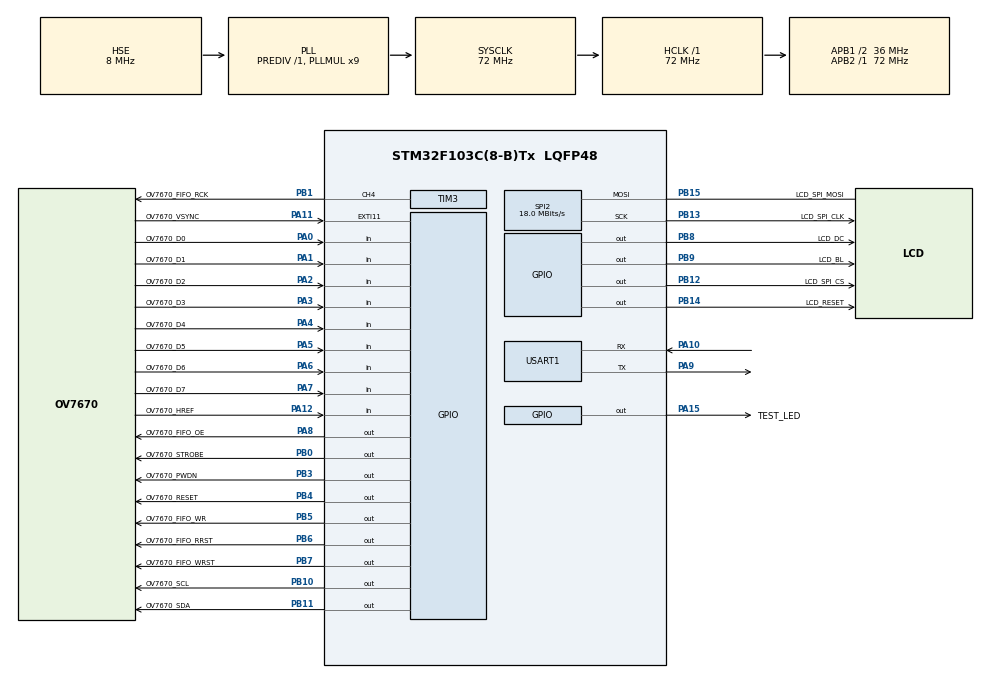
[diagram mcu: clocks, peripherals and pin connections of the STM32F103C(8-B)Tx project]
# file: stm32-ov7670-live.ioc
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Dma.Request0=TIM3_CH4/UP
Dma.Request1=SPI2_TX
Dma.SPI2_TX.1.Direction=DMA_MEMORY_TO_PERIPH
Dma.SPI2_TX.1.Instance=DMA1_Channel5
Dma.SPI2_TX.1.MemDataAlignment=DMA_MDATAALIGN_BYTE
Dma.SPI2_TX.1.MemInc=DMA_MINC_ENABLE
Dma.SPI2_TX.1.Mode=DMA_NORMAL
Dma.SPI2_TX.1.PeriphDataAlignment=DMA_PDATAALIGN_BYTE
Dma.SPI2_TX.1.PeriphInc=DMA_PINC_DISABLE
Dma.SPI2_TX.1.Priority=DMA_PRIORITY_LOW
Dma.TIM3_CH4/UP.0.Direction=DMA_PERIPH_TO_MEMORY
Dma.TIM3_CH4/UP.0.Instance=DMA1_Channel3
Dma.TIM3_CH4/UP.0.MemDataAlignment=DMA_MDATAALIGN_BYTE
Dma.TIM3_CH4/UP.0.MemInc=DMA_MINC_ENABLE
Dma.TIM3_CH4/UP.0.Mode=DMA_CIRCULAR
Dma.TIM3_CH4/UP.0.PeriphDataAlignment=DMA_PDATAALIGN_BYTE
Dma.TIM3_CH4/UP.0.PeriphInc=DMA_PINC_DISABLE
Dma.TIM3_CH4/UP.0.Priority=DMA_PRIORITY_VERY_HIGH
Mcu.Family=STM32F1
Mcu.Name=STM32F103C(8-B)Tx
Mcu.Package=LQFP48
NVIC.DMA1_Channel3_IRQn=true\:0\:0\:false\:false\:true\:false\:true\:true
NVIC.DMA1_Channel5_IRQn=true\:0\:0\:false\:false\:true\:false\:true\:true
NVIC.EXTI15_10_IRQn=true\:1\:0\:true\:false\:true\:true\:true\:true
NVIC.PriorityGroup=NVIC_PRIORITYGROUP_4
PA0-WKUP.GPIO_Label=OV7670_D0
PA0-WKUP.Signal=GPIO_Input
PA1.GPIO_Label=OV7670_D1
PA1.Signal=GPIO_Input
PA10.Mode=Asynchronous
PA10.Signal=USART1_RX
PA11.GPIO_Label=OV7670_VSYNC
PA11.GPIO_ModeDefaultEXTI=GPIO_MODE_IT_FALLING
PA11.Signal=GPXTI11
PA12.GPIO_Label=OV7670_HREF
PA12.Signal=GPIO_Input
PA13.Mode=Serial_Wire
PA13.Signal=SYS_JTMS-SWDIO
PA14.Mode=Serial_Wire
PA14.Signal=SYS_JTCK-SWCLK
PA15.GPIO_Label=TEST_LED
PA15.Signal=GPIO_Output
PA2.GPIO_Label=OV7670_D2
PA2.Signal=GPIO_Input
PA3.GPIO_Label=OV7670_D3
PA3.Signal=GPIO_Input
PA4.GPIO_Label=OV7670_D4
PA4.Signal=GPIO_Input
PA5.GPIO_Label=OV7670_D5
PA5.Signal=GPIO_Input
PA6.GPIO_Label=OV7670_D6
PA6.Signal=GPIO_Input
PA7.GPIO_Label=OV7670_D7
PA7.Signal=GPIO_Input
PA8.GPIO_Label=OV7670_FIFO_OE
PA8.GPIO_Speed=GPIO_SPEED_FREQ_HIGH
PA8.PinState=GPIO_PIN_SET
PA8.Signal=GPIO_Output
PA9.Mode=Asynchronous
PA9.Signal=USART1_TX
PB0.GPIO_Label=OV7670_STROBE
PB0.GPIO_Speed=GPIO_SPEED_FREQ_HIGH
PB0.Signal=GPIO_Output
PB1.GPIO_Label=OV7670_FIFO_RCK
PB1.GPIO_Speed=GPIO_SPEED_FREQ_HIGH
PB1.Signal=S_TIM3_CH4
PB10.GPIO_Label=OV7670_SCL
PB10.GPIO_ModeDefaultOutputPP=GPIO_MODE_OUTPUT_OD
PB10.GPIO_PuPd=GPIO_NOPULL
PB10.GPIO_Speed=GPIO_SPEED_FREQ_LOW
PB10.PinState=GPIO_PIN_SET
PB10.Signal=GPIO_Output
PB11.GPIO_Label=OV7670_SDA
PB11.GPIO_ModeDefaultOutputPP=GPIO_MODE_OUTPUT_OD
PB11.GPIO_PuPd=GPIO_NOPULL
PB11.GPIO_Speed=GPIO_SPEED_FREQ_LOW
PB11.PinState=GPIO_PIN_SET
PB11.Signal=GPIO_Output
PB12.GPIO_Label=LCD_SPI_CS
PB12.GPIO_Speed=GPIO_SPEED_FREQ_HIGH
PB12.PinState=GPIO_PIN_SET
PB12.Signal=GPIO_Output
PB13.GPIO_Label=LCD_SPI_CLK
PB13.Mode=Simplex_Bidirectional_Master
PB13.Signal=SPI2_SCK
PB14.GPIO_Label=LCD_RESET
PB14.GPIO_Speed=GPIO_SPEED_FREQ_HIGH
PB14.PinState=GPIO_PIN_SET
PB14.Signal=GPIO_Output
PB15.GPIO_Label=LCD_SPI_MOSI
PB15.Mode=Simplex_Bidirectional_Master
PB15.Signal=SPI2_MOSI
PB3.GPIO_Label=OV7670_PWDN
PB3.GPIO_Speed=GPIO_SPEED_FREQ_HIGH
PB3.Signal=GPIO_Output
PB4.GPIO_Label=OV7670_RESET
PB4.GPIO_Speed=GPIO_SPEED_FREQ_HIGH
PB4.PinState=GPIO_PIN_SET
PB4.Signal=GPIO_Output
PB5.GPIO_Label=OV7670_FIFO_WR
PB5.GPIO_Speed=GPIO_SPEED_FREQ_HIGH
PB5.Signal=GPIO_Output
PB6.GPIO_Label=OV7670_FIFO_RRST
PB6.GPIO_Speed=GPIO_SPEED_FREQ_HIGH
PB6.PinState=GPIO_PIN_SET
PB6.Signal=GPIO_Output
PB7.GPIO_Label=OV7670_FIFO_WRST
PB7.GPIO_Speed=GPIO_SPEED_FREQ_HIGH
PB7.PinState=GPIO_PIN_SET
PB7.Signal=GPIO_Output
PB8.GPIO_Label=LCD_DC
PB8.GPIO_Speed=GPIO_SPEED_FREQ_HIGH
PB8.Signal=GPIO_Output
PB9.GPIO_Label=LCD_BL
PB9.GPIO_Speed=GPIO_SPEED_FREQ_HIGH
PB9.Signal=GPIO_Output
PD0-OSC_IN.Mode=HSE-External-Oscillator
PD0-OSC_IN.Signal=RCC_OSC_IN
PD1-OSC_OUT.Mode=HSE-External-Oscillator
PD1-OSC_OUT.Signal=RCC_OSC_OUT
ProjectManager.HeapSize=0x200
ProjectManager.StackSize=0x400
ProjectManager.TargetToolchain=CMake
RCC.AHBFreq_Value=72000000
RCC.APB1CLKDivider=RCC_HCLK_DIV2
RCC.APB1Freq_Value=36000000
RCC.APB1TimFreq_Value=72000000
RCC.APB2Freq_Value=72000000
RCC.APB2TimFreq_Value=72000000
RCC.HCLKFreq_Value=72000000
RCC.PLLMUL=RCC_PLL_MUL9
RCC.PLLSourceVirtual=RCC_PLLSOURCE_HSE
RCC.SYSCLKFreq_VALUE=72000000
RCC.SYSCLKSource=RCC_SYSCLKSOURCE_PLLCLK
RCC.USBFreq_Value=72000000
SH.S_TIM3_CH4.0=TIM3_CH4,PWM Generation4 CH4
SPI2.CalculateBaudRate=18.0 MBits/s
SPI2.Direction=SPI_DIRECTION_1LINE
SPI2.Mode=SPI_MODE_MASTER
SPI2.VirtualType=VM_MASTER
TIM3.AutoReloadPreload=TIM_AUTORELOAD_PRELOAD_ENABLE
TIM3.Channel-PWM\ Generation4\ CH4=TIM_CHANNEL_4
TIM3.OCFastMode_PWM-PWM\ Generation4\ CH4=TIM_OCFAST_ENABLE
TIM3.OCMode_PWM-PWM\ Generation4\ CH4=TIM_OCMODE_PWM2
TIM3.Period=49
TIM3.Pulse-PWM\ Generation4\ CH4=24
USART1.VirtualMode=VM_ASYNC
VP_TIM3_VS_ClockSourceINT.Mode=Internal
board=custom

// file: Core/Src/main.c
/* USER CODE BEGIN Header */
/**
  ******************************************************************************
  * @file           : main.c
  * @brief          : Main program body
  ******************************************************************************
  * @attention
  *
  * Copyright (c) 2026 STMicroelectronics.
  * All rights reserved.
  *
  * This software is licensed under terms that can be found in the LICENSE file
  * in the root directory of this software component.
  * If no LICENSE file comes with this software, it is provided AS-IS.
  *
  ******************************************************************************
  */
/* USER CODE END Header */
#include "main.h"

/* USER CODE BEGIN Includes */
#include "dwt_delay.h"
#include "ov7670.h"
#include "st7735.h"
#include "pipeline.h"
#include "debug.h"
#ifdef UNIT_TESTS_ENABLED
#include "test_runner.h"
#endif
/* USER CODE END Includes */

SPI_HandleTypeDef hspi2;
DMA_HandleTypeDef hdma_spi2_tx;

TIM_HandleTypeDef htim3;
DMA_HandleTypeDef hdma_tim3_ch4_up;

UART_HandleTypeDef huart1;

void SystemClock_Config(void);
static void MX_GPIO_Init(void);
static void MX_DMA_Init(void);
static void MX_TIM3_Init(void);
static void MX_SPI2_Init(void);
static void MX_USART1_UART_Init(void);

int main(void)
{

  /* MCU Configuration--------------------------------------------------------*/

  /* Reset of all peripherals, Initializes the Flash interface and the Systick. */
  HAL_Init();

  /* Configure the system clock */
  SystemClock_Config();

  /* Initialize all configured peripherals */
  MX_GPIO_Init();
  MX_DMA_Init();
  MX_TIM3_Init();
  MX_SPI2_Init();
  MX_USART1_UART_Init();
  /* USER CODE BEGIN 2 */
#ifdef UNIT_TESTS_ENABLED
  TestRunner_Run();   /* runs selected test groups, LED feedback, never returns */
#else
  debug_printf("\n\n=== STM32 OV7670 Live ===\n");

  /* BSP initialization (order matters: DWT -> OV7670 -> LCD -> Pipeline) */
  DWT_Init();
  debug_printf("DWT init OK\n");

  if (!OV7670_Init())
  {
    debug_printf("OV7670 init FAILED (SCCB NACK)\n");
    Error_Handler();
  }
  debug_printf("OV7670 init OK\n");

  LCD_Init();
  debug_printf("LCD init OK\n");

  Pipeline_Init();

  /* Enable TIM3 CC4 DMA request (triggers Camera DMA per RCK cycle) */
  Pipeline_EnableTimDma();

  debug_printf("Pipeline init OK, enabling VSYNC...\n");

  /* Enable VSYNC interrupt (PA11 -> EXTI11, last step before main loop) */
  Pipeline_ClearVsyncPending();
  Pipeline_EnableVsyncIrq();
#endif
  /* USER CODE END 2 */

  /* Infinite loop */
  while (1)
  {

    /* USER CODE BEGIN 3 */
    Pipeline_Poll();
  }
  /* USER CODE END 3 */
}

void SystemClock_Config(void)
{
  RCC_OscInitTypeDef RCC_OscInitStruct = {0};
  RCC_ClkInitTypeDef RCC_ClkInitStruct = {0};

  /** Initializes the RCC Oscillators according to the specified parameters
  * in the RCC_OscInitTypeDef structure.
  */
  RCC_OscInitStruct.OscillatorType = RCC_OSCILLATORTYPE_HSE;
  RCC_OscInitStruct.HSEState = RCC_HSE_ON;
  RCC_OscInitStruct.HSEPredivValue = RCC_HSE_PREDIV_DIV1;
  RCC_OscInitStruct.HSIState = RCC_HSI_ON;
  RCC_OscInitStruct.PLL.PLLState = RCC_PLL_ON;
  RCC_OscInitStruct.PLL.PLLSource = RCC_PLLSOURCE_HSE;
  RCC_OscInitStruct.PLL.PLLMUL = RCC_PLL_MUL9;
  if (HAL_RCC_OscConfig(&RCC_OscInitStruct) != HAL_OK)
  {
    Error_Handler();
  }

  /** Initializes the CPU, AHB and APB buses clocks
  */
  RCC_ClkInitStruct.ClockType = RCC_CLOCKTYPE_HCLK|RCC_CLOCKTYPE_SYSCLK
                              |RCC_CLOCKTYPE_PCLK1|RCC_CLOCKTYPE_PCLK2;
  RCC_ClkInitStruct.SYSCLKSource = RCC_SYSCLKSOURCE_PLLCLK;
  RCC_ClkInitStruct.AHBCLKDivider = RCC_SYSCLK_DIV1;
  RCC_ClkInitStruct.APB1CLKDivider = RCC_HCLK_DIV2;
  RCC_ClkInitStruct.APB2CLKDivider = RCC_HCLK_DIV1;

  if (HAL_RCC_ClockConfig(&RCC_ClkInitStruct, FLASH_LATENCY_2) != HAL_OK)
  {
    Error_Handler();
  }
}

static void MX_SPI2_Init(void)
{

  /* SPI2 parameter configuration*/
  hspi2.Instance = SPI2;
  hspi2.Init.Mode = SPI_MODE_MASTER;
  hspi2.Init.Direction = SPI_DIRECTION_1LINE;
  hspi2.Init.DataSize = SPI_DATASIZE_8BIT;
  hspi2.Init.CLKPolarity = SPI_POLARITY_LOW;
  hspi2.Init.CLKPhase = SPI_PHASE_1EDGE;
  hspi2.Init.NSS = SPI_NSS_SOFT;
  hspi2.Init.BaudRatePrescaler = SPI_BAUDRATEPRESCALER_2;
  hspi2.Init.FirstBit = SPI_FIRSTBIT_MSB;
  hspi2.Init.TIMode = SPI_TIMODE_DISABLE;
  hspi2.Init.CRCCalculation = SPI_CRCCALCULATION_DISABLE;
  hspi2.Init.CRCPolynomial = 10;
  if (HAL_SPI_Init(&hspi2) != HAL_OK)
  {
    Error_Handler();
  }

}

static void MX_TIM3_Init(void)
{

  TIM_ClockConfigTypeDef sClockSourceConfig = {0};
  TIM_MasterConfigTypeDef sMasterConfig = {0};
  TIM_OC_InitTypeDef sConfigOC = {0};

  htim3.Instance = TIM3;
  htim3.Init.Prescaler = 0;
  htim3.Init.CounterMode = TIM_COUNTERMODE_UP;
  htim3.Init.Period = 49;
  htim3.Init.ClockDivision = TIM_CLOCKDIVISION_DIV1;
  htim3.Init.AutoReloadPreload = TIM_AUTORELOAD_PRELOAD_ENABLE;
  if (HAL_TIM_Base_Init(&htim3) != HAL_OK)
  {
    Error_Handler();
  }
  sClockSourceConfig.ClockSource = TIM_CLOCKSOURCE_INTERNAL;
  if (HAL_TIM_ConfigClockSource(&htim3, &sClockSourceConfig) != HAL_OK)
  {
    Error_Handler();
  }
  if (HAL_TIM_PWM_Init(&htim3) != HAL_OK)
  {
    Error_Handler();
  }
  sMasterConfig.MasterOutputTrigger = TIM_TRGO_RESET;
  sMasterConfig.MasterSlaveMode = TIM_MASTERSLAVEMODE_DISABLE;
  if (HAL_TIMEx_MasterConfigSynchronization(&htim3, &sMasterConfig) != HAL_OK)
  {
    Error_Handler();
  }
  sConfigOC.OCMode = TIM_OCMODE_PWM2;
  sConfigOC.Pulse = 24;
  sConfigOC.OCPolarity = TIM_OCPOLARITY_HIGH;
  sConfigOC.OCFastMode = TIM_OCFAST_ENABLE;
  if (HAL_TIM_PWM_ConfigChannel(&htim3, &sConfigOC, TIM_CHANNEL_4) != HAL_OK)
  {
    Error_Handler();
  }
  HAL_TIM_MspPostInit(&htim3);

}

static void MX_USART1_UART_Init(void)
{

  huart1.Instance = USART1;
  huart1.Init.BaudRate = 115200;
  huart1.Init.WordLength = UART_WORDLENGTH_8B;
  huart1.Init.StopBits = UART_STOPBITS_1;
  huart1.Init.Parity = UART_PARITY_NONE;
  huart1.Init.Mode = UART_MODE_TX_RX;
  huart1.Init.HwFlowCtl = UART_HWCONTROL_NONE;
  huart1.Init.OverSampling = UART_OVERSAMPLING_16;
  if (HAL_UART_Init(&huart1) != HAL_OK)
  {
    Error_Handler();
  }

}

static void MX_DMA_Init(void)
{

  /* DMA controller clock enable */
  __HAL_RCC_DMA1_CLK_ENABLE();

  /* DMA interrupt init */
  /* DMA1_Channel3_IRQn interrupt configuration */
  HAL_NVIC_SetPriority(DMA1_Channel3_IRQn, 0, 0);
  HAL_NVIC_EnableIRQ(DMA1_Channel3_IRQn);
  /* DMA1_Channel5_IRQn interrupt configuration */
  HAL_NVIC_SetPriority(DMA1_Channel5_IRQn, 0, 0);
  HAL_NVIC_EnableIRQ(DMA1_Channel5_IRQn);

}

static void MX_GPIO_Init(void)
{
  GPIO_InitTypeDef GPIO_InitStruct = {0};

  /* GPIO Ports Clock Enable */
  __HAL_RCC_GPIOD_CLK_ENABLE();
  __HAL_RCC_GPIOA_CLK_ENABLE();
  __HAL_RCC_GPIOB_CLK_ENABLE();

  /*Configure GPIO pin Output Level */
  HAL_GPIO_WritePin(GPIOB, OV7670_STROBE_Pin|OV7670_PWDN_Pin|OV7670_FIFO_WR_Pin|LCD_DC_Pin
                          |LCD_BL_Pin, GPIO_PIN_RESET);

  /*Configure GPIO pin Output Level */
  HAL_GPIO_WritePin(GPIOB, OV7670_SCL_Pin|OV7670_SDA_Pin|LCD_SPI_CS_Pin|LCD_RESET_Pin
                          |OV7670_RESET_Pin|OV7670_FIFO_RRST_Pin|OV7670_FIFO_WRST_Pin, GPIO_PIN_SET);

  /*Configure GPIO pin Output Level */
  HAL_GPIO_WritePin(OV7670_FIFO_OE_GPIO_Port, OV7670_FIFO_OE_Pin, GPIO_PIN_SET);

  /*Configure GPIO pin Output Level */
  HAL_GPIO_WritePin(TEST_LED_GPIO_Port, TEST_LED_Pin, GPIO_PIN_RESET);

  /*Configure GPIO pins : OV7670_D0_Pin OV7670_D1_Pin OV7670_D2_Pin OV7670_D3_Pin
                           OV7670_D4_Pin OV7670_D5_Pin OV7670_D6_Pin OV7670_D7_Pin
                           OV7670_HREF_Pin */
  GPIO_InitStruct.Pin = OV7670_D0_Pin|OV7670_D1_Pin|OV7670_D2_Pin|OV7670_D3_Pin
                          |OV7670_D4_Pin|OV7670_D5_Pin|OV7670_D6_Pin|OV7670_D7_Pin
                          |OV7670_HREF_Pin;
  GPIO_InitStruct.Mode = GPIO_MODE_INPUT;
  GPIO_InitStruct.Pull = GPIO_NOPULL;
  HAL_GPIO_Init(GPIOA, &GPIO_InitStruct);

  /*Configure GPIO pins : OV7670_STROBE_Pin LCD_SPI_CS_Pin LCD_RESET_Pin OV7670_PWDN_Pin
                           OV7670_RESET_Pin OV7670_FIFO_WR_Pin OV7670_FIFO_RRST_Pin OV7670_FIFO_WRST_Pin
                           LCD_DC_Pin LCD_BL_Pin */
  GPIO_InitStruct.Pin = OV7670_STROBE_Pin|LCD_SPI_CS_Pin|LCD_RESET_Pin|OV7670_PWDN_Pin
                          |OV7670_RESET_Pin|OV7670_FIFO_WR_Pin|OV7670_FIFO_RRST_Pin|OV7670_FIFO_WRST_Pin
                          |LCD_DC_Pin|LCD_BL_Pin;
  GPIO_InitStruct.Mode = GPIO_MODE_OUTPUT_PP;
  GPIO_InitStruct.Pull = GPIO_NOPULL;
  GPIO_InitStruct.Speed = GPIO_SPEED_FREQ_HIGH;
  HAL_GPIO_Init(GPIOB, &GPIO_InitStruct);

  /*Configure GPIO pins : OV7670_SCL_Pin OV7670_SDA_Pin */
  GPIO_InitStruct.Pin = OV7670_SCL_Pin|OV7670_SDA_Pin;
  GPIO_InitStruct.Mode = GPIO_MODE_OUTPUT_OD;
  GPIO_InitStruct.Pull = GPIO_NOPULL;
  GPIO_InitStruct.Speed = GPIO_SPEED_FREQ_LOW;
  HAL_GPIO_Init(GPIOB, &GPIO_InitStruct);

  /*Configure GPIO pin : OV7670_FIFO_OE_Pin */
  GPIO_InitStruct.Pin = OV7670_FIFO_OE_Pin;
  GPIO_InitStruct.Mode = GPIO_MODE_OUTPUT_PP;
  GPIO_InitStruct.Pull = GPIO_NOPULL;
  GPIO_InitStruct.Speed = GPIO_SPEED_FREQ_HIGH;
  HAL_GPIO_Init(OV7670_FIFO_OE_GPIO_Port, &GPIO_InitStruct);

  /*Configure GPIO pin : OV7670_VSYNC_Pin */
  GPIO_InitStruct.Pin = OV7670_VSYNC_Pin;
  GPIO_InitStruct.Mode = GPIO_MODE_IT_FALLING;
  GPIO_InitStruct.Pull = GPIO_NOPULL;
  HAL_GPIO_Init(OV7670_VSYNC_GPIO_Port, &GPIO_InitStruct);

  /*Configure GPIO pin : TEST_LED_Pin */
  GPIO_InitStruct.Pin = TEST_LED_Pin;
  GPIO_InitStruct.Mode = GPIO_MODE_OUTPUT_PP;
  GPIO_InitStruct.Pull = GPIO_NOPULL;
  GPIO_InitStruct.Speed = GPIO_SPEED_FREQ_LOW;
  HAL_GPIO_Init(TEST_LED_GPIO_Port, &GPIO_InitStruct);

  /* EXTI interrupt init*/
  HAL_NVIC_SetPriority(EXTI15_10_IRQn, 1, 0);
  HAL_NVIC_EnableIRQ(EXTI15_10_IRQn);

  /* USER CODE BEGIN MX_GPIO_Init_2 */
  HAL_NVIC_DisableIRQ(OV7670_VSYNC_EXTI_IRQn);
  /* USER CODE END MX_GPIO_Init_2 */
}

void Error_Handler(void)
{
  /* USER CODE BEGIN Error_Handler_Debug */
  /* User can add his own implementation to report the HAL error return state */
  __disable_irq();
  while (1);
  /* USER CODE END Error_Handler_Debug */
}
